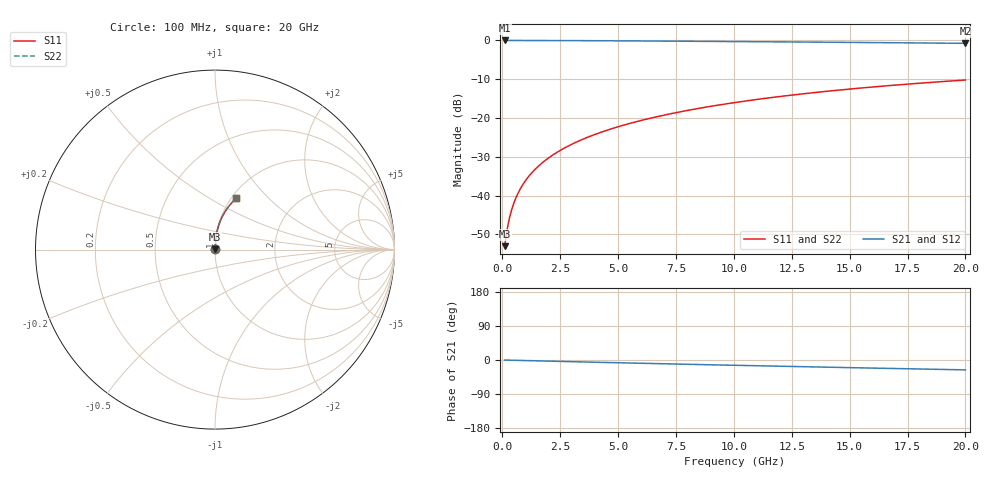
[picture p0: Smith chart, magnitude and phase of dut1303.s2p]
! Touchstone file exported from HFSS 2024.1.0
!  File:  C:/UserFiles/LocalFiles/RDL_TSV_Batchsim/temp_RDL_bottom_1303_1780368176.aedt
!  Generated:  10:45:51 AM Jun  2, 2026
!  Design:  RDL_bottom
!  Project:  temp_RDL_bottom_1303_1780368176
!  Setup:  Setup1
!  Solution:  Sweep
! Variables:
!  dtsv = 10.80580581um
!  hbump = 3um
!  htsv = 50.62um
!  ldown = 311.4um
!  lrdl = 100um
!  p = 40
!  p1 = 56.2um
!  rhole = 1um
!  t = 450um
!  tdown = 4.49um
!  trdl = 3.915915916um
!  wdown = 17.19um
!  wrdl = 20um
# GHz S MA R 50.000000
! Terminal data exported
! Port[1] = RDL1_T1
! Port[2] = RDL1_T2
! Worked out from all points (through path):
!   200 points, 100 MHz to 20 GHz, reference 50 ohm
!   highest |S21| = -0.01 dB at 100 MHz (marker M1); lowest = -0.8 dB at 20 GHz (marker M2)
!   group delay of S21, straight-line fit = 3.59 ps
!   lowest |S11| = -53.0 dB at 100 MHz (marker M3), VSWR 1.00, Z = 50.2 + j0.159 ohm
!   |S11| at or under -10 dB: start of sweep to end of sweep
!   |S22| runs from -53.0 to -10.2 dB; largest |S21 - S12| = 5.2e-15
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0.1  0.002232 45.4  0.9984 -0.2  0.9984 -0.2  0.002232 45.4
! Gamma 0 0 0 0
! Port Impedance 50 0 50 0
0.2  0.003545 63.5  0.9984 -0.3  0.9984 -0.3  0.003545 63.5
0.3  0.005009 71.3  0.9983 -0.5  0.9983 -0.5  0.005009 71.3
0.4  0.006512 75.4  0.9982 -0.6  0.9982 -0.6  0.006512 75.4
0.5  0.008025 77.9  0.9981 -0.8  0.9981 -0.8  0.008025 77.9
0.7  0.01105 80.7  0.998 -1.1  0.998 -1.1  0.01105 80.7
0.8  0.01255 81.6  0.9979 -1.2  0.9979 -1.2  0.01255 81.6
1  0.01556 82.8  0.9977 -1.5  0.9977 -1.5  0.01556 82.8
1.2  0.01856 83.7  0.9974 -1.8  0.9974 -1.8  0.01856 83.7
1.4  0.02157 84.2  0.9972 -2.1  0.9972 -2.1  0.02157 84.2
1.7  0.02609 84.8  0.9967 -2.6  0.9967 -2.6  0.02609 84.8
2  0.03063 85.2  0.9962 -3.0  0.9962 -3.0  0.03063 85.2
2.7  0.04129 85.6  0.9947 -4.0  0.9947 -4.0  0.0413 85.6
3.5  0.05363 85.6  0.9925 -5.2  0.9925 -5.2  0.05363 85.6
4.2  0.06454 85.3  0.9903 -6.2  0.9903 -6.2  0.06454 85.3
5  0.07714 84.9  0.9876 -7.3  0.9876 -7.3  0.07715 84.9
6.8  0.1059 83.4  0.9806 -9.8  0.9806 -9.8  0.1059 83.4
8.4  0.1317 81.7  0.9739 -11.9  0.9739 -11.9  0.1317 81.7
10.1  0.1591 79.8  0.9664 -14.1  0.9664 -14.1  0.1591 79.8
13.4  0.2115 75.7  0.951 -18.2  0.951 -18.2  0.2115 75.7
16.7  0.2616 71.6  0.9344 -22.2  0.9344 -22.2  0.2616 71.6
20  0.3089 67.5  0.9168 -26.1  0.9168 -26.1  0.3089 67.5
